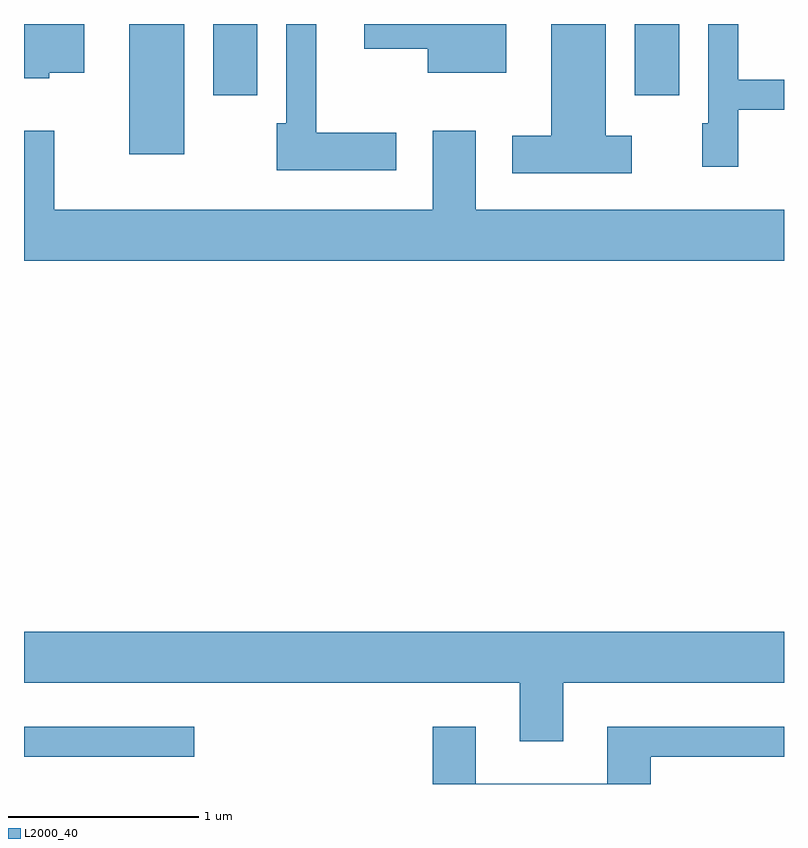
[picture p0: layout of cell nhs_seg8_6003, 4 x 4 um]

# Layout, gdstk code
import gdstk
lib = gdstk.Library(unit=1e-6, precision=1e-09)
def R(c, l, rs):  # rectangles x0, y0, x1, y1
    for r in rs: c.add(gdstk.rectangle(r[:2], r[2:], *l))
def P(c, l, *ps):  # polygons
    for p in ps: c.add(gdstk.Polygon(p, *l))
L2000_40 = (2000, 40)

nhs_seg8_6003 = lib.new_cell('nhs_seg8_6003')
R(nhs_seg8_6003, L2000_40, [(365.611,1820.486,366.508,1820.644), (366.166,1823.656,366.454,1824.342), (366.606,1823.966,366.839,1824.342), (368.826,1823.966,369.059,1824.342)])
P(nhs_seg8_6003, L2000_40, [(367.569,1823.769),(367.149,1823.769),(367.149,1824.342),(366.991,1824.342),(366.991,1823.819),(366.941,1823.819),(366.941,1823.571),(367.569,1823.571)],
  [(368.809,1823.754),(368.674,1823.754),(368.674,1824.342),(368.386,1824.342),(368.386,1823.754),(368.181,1823.754),(368.181,1823.556),(368.809,1823.556)],
  [(369.369,1823.891),(369.611,1823.891),(369.611,1824.049),(369.369,1824.049),(369.369,1824.342),(369.211,1824.342),(369.211,1823.819),(369.181,1823.819),(369.181,1823.591),(369.369,1823.591)],
  [(368.149,1824.342),(367.401,1824.342),(367.401,1824.211),(367.736,1824.211),(367.736,1824.086),(368.149,1824.086)],
  [(365.744,1824.086),(365.929,1824.086),(365.929,1824.342),(365.611,1824.342),(365.611,1824.056),(365.744,1824.056)],
  [(369.611,1823.364),(367.989,1823.364),(367.989,1823.779),(367.761,1823.779),(367.761,1823.364),(365.769,1823.364),(365.769,1823.779),(365.611,1823.779),(365.611,1823.096),(369.611,1823.096)],
  [(368.449,1820.876),(369.611,1820.876),(369.611,1821.144),(365.611,1821.144),(365.611,1820.876),(368.221,1820.876),(368.221,1820.566),(368.449,1820.566)],
  [(368.909,1820.486),(369.611,1820.486),(369.611,1820.644),(368.681,1820.644),(368.681,1820.344),(367.989,1820.344),(367.989,1820.644),(367.761,1820.644),(367.761,1820.342),(368.909,1820.342)])

lib.write_gds('nhs_seg8_6003.gds')
